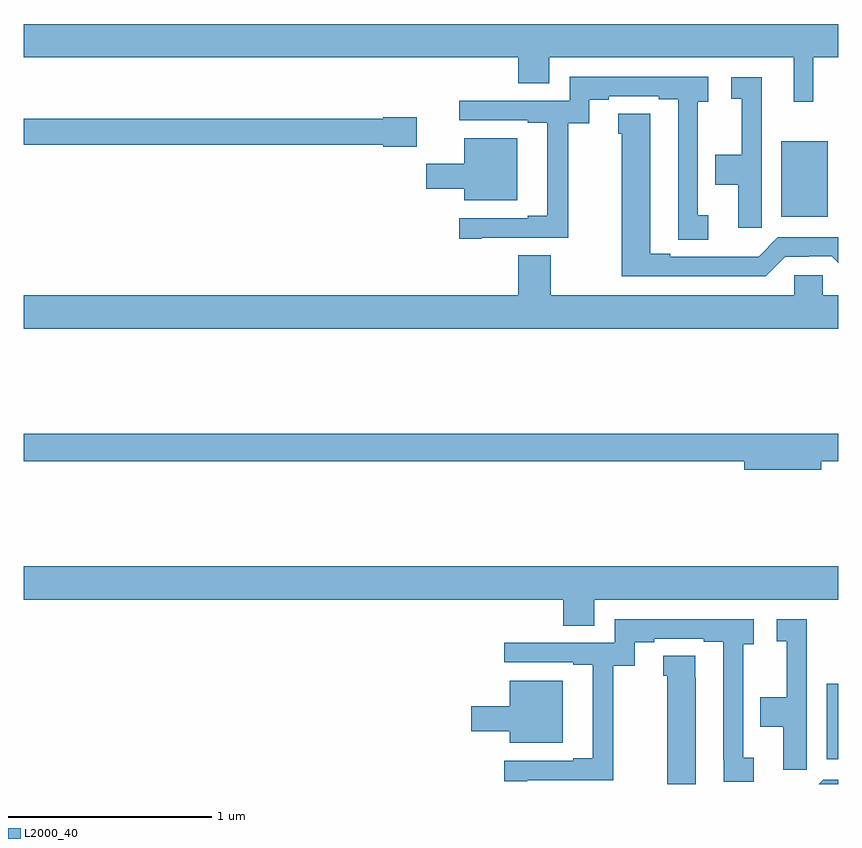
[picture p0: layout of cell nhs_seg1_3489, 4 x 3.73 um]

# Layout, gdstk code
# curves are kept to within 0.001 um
import gdstk
lib = gdstk.Library(unit=1e-6, precision=1e-09)
def R(c, l, rs):  # rectangles x0, y0, x1, y1
    for r in rs: c.add(gdstk.rectangle(r[:2], r[2:], *l))
def P(c, l, *ps):  # polygons
    for p in ps: c.add(gdstk.Polygon(p, *l))
L2000_40 = (2000, 40)

nhs_seg1_3489 = lib.new_cell('nhs_seg1_3489')
R(nhs_seg1_3489, L2000_40, [(304.943,512.321,305,512.692), (304.721,514.985,304.948,515.356)])
P(nhs_seg1_3489, L2000_40, [(304.878,515.768),(305,515.768),(305,515.932),(301,515.932),(301,515.768),(303.428,515.768),(303.428,515.641),(303.58,515.641),(303.58,515.768),(304.781,515.768),(304.781,515.55),(304.878,515.55)],
  [(304.363,514.992),(304.311,514.992),(304.311,515.549),(304.363,515.549),(304.363,515.673),(303.681,515.673),(303.681,515.556),(303.138,515.556),(303.138,515.46),(303.476,515.46),(303.476,515.448),(303.572,515.448),(303.572,514.99),(303.476,514.99),(303.476,514.977),(303.138,514.977),(303.138,514.876),(303.25,514.876),(303.25,514.881),(303.674,514.881),(303.674,515.444),(303.778,515.444),(303.778,515.559),(303.874,515.559),(303.874,515.577),(304.118,515.577),(304.118,515.562),(304.214,515.562),(304.214,514.981),(304.215,514.981),(304.215,514.873),(304.363,514.873)],
  [(304.624,515.671),(304.476,515.671),(304.476,515.565),(304.526,515.565),(304.526,515.29),(304.396,515.29),(304.396,515.143),(304.508,515.143),(304.508,514.932),(304.624,514.932)],
  [(304.74,514.788),(304.856,514.788),(304.856,514.791),(304.968,514.791),(305,514.759),(305,514.884),(304.704,514.884),(304.609,514.789),(304.174,514.788),(304.174,514.803),(304.078,514.803),(304.077,515.492),(303.92,515.492),(303.92,515.394),(303.938,515.394),(303.938,514.692),(304.644,514.692)],
  [(302.929,515.475),(302.766,515.475),(302.766,515.467),(301,515.467),(301,515.338),(302.766,515.338),(302.766,515.33),(302.929,515.33)],
  [(303.424,515.371),(303.164,515.371),(303.164,515.245),(302.976,515.245),(302.976,515.123),(303.164,515.123),(303.164,515.066),(303.424,515.066)],
  [(305,514.6),(304.923,514.6),(304.923,514.698),(304.785,514.698),(304.785,514.6),(303.588,514.6),(303.588,514.796),(303.428,514.796),(303.428,514.6),(301,514.6),(301,514.436),(305,514.436)],
  [(304.918,513.784),(305,513.784),(305,513.92),(301,513.92),(301,513.784),(304.538,513.784),(304.538,513.742),(304.918,513.742)],
  [(303.802,513.104),(305,513.104),(305,513.268),(301,513.268),(301,513.104),(303.65,513.104),(303.65,512.977),(303.802,512.977)],
  [(304.585,512.328),(304.533,512.328),(304.533,512.885),(304.585,512.885),(304.585,513.009),(303.903,513.009),(303.903,512.892),(303.36,512.892),(303.36,512.796),(303.698,512.796),(303.698,512.784),(303.794,512.784),(303.794,512.326),(303.698,512.326),(303.698,512.313),(303.36,512.313),(303.36,512.212),(303.472,512.212),(303.472,512.217),(303.896,512.217),(303.896,512.78),(304,512.78),(304,512.895),(304.096,512.895),(304.096,512.913),(304.34,512.913),(304.34,512.898),(304.436,512.898),(304.436,512.317),(304.437,512.317),(304.437,512.209),(304.585,512.209)],
  [(304.846,513.007),(304.698,513.007),(304.698,512.901),(304.748,512.901),(304.748,512.626),(304.618,512.626),(304.618,512.479),(304.73,512.479),(304.73,512.268),(304.846,512.268)],
  [(304.3,512.72),(304.299,512.72),(304.299,512.828),(304.142,512.828),(304.142,512.73),(304.16,512.73),(304.16,512.199),(304.3,512.199)],
  [(303.646,512.707),(303.386,512.707),(303.386,512.581),(303.198,512.581),(303.198,512.459),(303.386,512.459),(303.386,512.402),(303.646,512.402)],
  [(305,512.22),(304.926,512.22),(304.905,512.199),(305,512.199)])

lib.write_gds('nhs_seg1_3489.gds')
